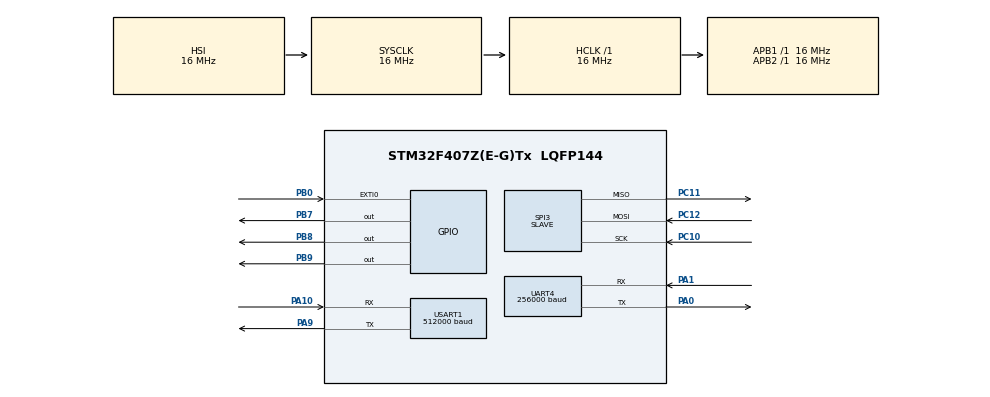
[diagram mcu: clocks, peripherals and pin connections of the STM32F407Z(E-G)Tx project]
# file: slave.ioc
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Dma.Request0=USART1_TX
Dma.USART1_TX.0.Direction=DMA_MEMORY_TO_PERIPH
Dma.USART1_TX.0.FIFOMode=DMA_FIFOMODE_DISABLE
Dma.USART1_TX.0.Instance=DMA2_Stream7
Dma.USART1_TX.0.MemDataAlignment=DMA_MDATAALIGN_BYTE
Dma.USART1_TX.0.MemInc=DMA_MINC_ENABLE
Dma.USART1_TX.0.Mode=DMA_NORMAL
Dma.USART1_TX.0.PeriphDataAlignment=DMA_PDATAALIGN_BYTE
Dma.USART1_TX.0.PeriphInc=DMA_PINC_DISABLE
Dma.USART1_TX.0.Priority=DMA_PRIORITY_LOW
FREERTOS.Queues01=slave_tasks,16,16,1,Dynamic,NULL,NULL
FREERTOS.Tasks01=defaultTask,24,128,StartDefaultTask,Default,NULL,Dynamic,NULL,NULL;Actuation,40,256,Start_Actuation,Default,NULL,Dynamic,NULL,NULL;FeedBack,32,512,Start_FeedBack,Default,NULL,Dynamic,NULL,NULL
Mcu.Family=STM32F4
Mcu.Name=STM32F407Z(E-G)Tx
Mcu.Package=LQFP144
NVIC.DMA2_Stream7_IRQn=true\:5\:0\:false\:false\:true\:true\:false\:true\:true
NVIC.EXTI0_IRQn=true\:5\:0\:true\:false\:true\:true\:true\:true\:true
NVIC.PriorityGroup=NVIC_PRIORITYGROUP_4
NVIC.TIM1_UP_TIM10_IRQn=true\:15\:0\:false\:false\:true\:false\:false\:true\:true
NVIC.TimeBase=TIM1_UP_TIM10_IRQn
NVIC.TimeBaseIP=TIM1
NVIC.USART1_IRQn=true\:7\:0\:true\:false\:true\:true\:true\:true\:true
PA0-WKUP.Mode=Asynchronous
PA0-WKUP.Signal=UART4_TX
PA1.Mode=Asynchronous
PA1.Signal=UART4_RX
PA10.Mode=Asynchronous
PA10.Signal=USART1_RX
PA13.Mode=JTAG_4_pins
PA13.Signal=SYS_JTMS-SWDIO
PA14.Mode=JTAG_4_pins
PA14.Signal=SYS_JTCK-SWCLK
PA15.Mode=JTAG_4_pins
PA15.Signal=SYS_JTDI
PA9.Mode=Asynchronous
PA9.Signal=USART1_TX
PB0.Signal=GPXTI0
PB3.Mode=JTAG_4_pins
PB3.Signal=SYS_JTDO-SWO
PB7.GPIO_PuPd=GPIO_PULLUP
PB7.PinState=GPIO_PIN_SET
PB7.Signal=GPIO_Output
PB8.GPIO_PuPd=GPIO_PULLUP
PB8.PinState=GPIO_PIN_SET
PB8.Signal=GPIO_Output
PB9.GPIO_PuPd=GPIO_PULLUP
PB9.PinState=GPIO_PIN_SET
PB9.Signal=GPIO_Output
PC10.Mode=Full_Duplex_Slave
PC10.Signal=SPI3_SCK
PC11.Mode=Full_Duplex_Slave
PC11.Signal=SPI3_MISO
PC12.Mode=Full_Duplex_Slave
PC12.Signal=SPI3_MOSI
ProjectManager.HeapSize=0x200
ProjectManager.StackSize=0x400
ProjectManager.TargetToolchain=CMake
RCC.AHBFreq_Value=16000000
RCC.APB1Freq_Value=16000000
RCC.APB2Freq_Value=16000000
RCC.CortexFreq_Value=16000000
RCC.HSE_VALUE=25000000
RCC.HSI_VALUE=16000000
RCC.LSE_VALUE=32768
RCC.SYSCLKFreq_VALUE=16000000
RCC.VCOOutputFreq_Value=192000000
SPI3.Direction=SPI_DIRECTION_2LINES
SPI3.Mode=SPI_MODE_SLAVE
SPI3.VirtualType=VM_SLAVE
UART4.BaudRate=256000
UART4.VirtualMode=Asynchronous
USART1.BaudRate=512000
USART1.VirtualMode=VM_ASYNC
VP_FREERTOS_VS_CMSIS_V2.Mode=CMSIS_V2
VP_SYS_VS_tim1.Mode=TIM1
board=custom

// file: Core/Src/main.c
/* USER CODE BEGIN Header */
/**
  ******************************************************************************
  * @file           : main.c
  * @brief          : Main program body
  ******************************************************************************
  * @attention
  *
  * Copyright (c) 2026 STMicroelectronics.
  * All rights reserved.
  *
  * This software is licensed under terms that can be found in the LICENSE file
  * in the root directory of this software component.
  * If no LICENSE file comes with this software, it is provided AS-IS.
  *
  ******************************************************************************
  */
/* USER CODE END Header */
#include "main.h"
#include "cmsis_os.h"
#include "dma.h"
#include "spi.h"
#include "usart.h"
#include "gpio.h"

void SystemClock_Config(void);
void MX_FREERTOS_Init(void);

int main(void)
{

  /* MCU Configuration--------------------------------------------------------*/

  /* Reset of all peripherals, Initializes the Flash interface and the Systick. */
   HAL_Init();

  /* Configure the system clock */
  SystemClock_Config();

  /* Initialize all configured peripherals */
  MX_GPIO_Init();
  MX_DMA_Init();
  MX_UART4_Init();
  MX_USART1_UART_Init();
  MX_SPI3_Init();

  /* Init scheduler */
  osKernelInitialize();  /* Call init function for freertos objects (in cmsis_os2.c) */
  MX_FREERTOS_Init();

  /* Start scheduler */
  osKernelStart();

  /* We should never get here as control is now taken by the scheduler */

  /* Infinite loop */
  while (1)
  {

  }
}

void SystemClock_Config(void)
{
  RCC_OscInitTypeDef RCC_OscInitStruct = {0};
  RCC_ClkInitTypeDef RCC_ClkInitStruct = {0};

  /** Configure the main internal regulator output voltage
  */
  __HAL_RCC_PWR_CLK_ENABLE();
  __HAL_PWR_VOLTAGESCALING_CONFIG(PWR_REGULATOR_VOLTAGE_SCALE1);

  /** Initializes the RCC Oscillators according to the specified parameters
  * in the RCC_OscInitTypeDef structure.
  */
  RCC_OscInitStruct.OscillatorType = RCC_OSCILLATORTYPE_HSI;
  RCC_OscInitStruct.HSIState = RCC_HSI_ON;
  RCC_OscInitStruct.HSICalibrationValue = RCC_HSICALIBRATION_DEFAULT;
  RCC_OscInitStruct.PLL.PLLState = RCC_PLL_NONE;
  if (HAL_RCC_OscConfig(&RCC_OscInitStruct) != HAL_OK)
  {
    Error_Handler();
  }

  /** Initializes the CPU, AHB and APB buses clocks
  */
  RCC_ClkInitStruct.ClockType = RCC_CLOCKTYPE_HCLK|RCC_CLOCKTYPE_SYSCLK
                              |RCC_CLOCKTYPE_PCLK1|RCC_CLOCKTYPE_PCLK2;
  RCC_ClkInitStruct.SYSCLKSource = RCC_SYSCLKSOURCE_HSI;
  RCC_ClkInitStruct.AHBCLKDivider = RCC_SYSCLK_DIV1;
  RCC_ClkInitStruct.APB1CLKDivider = RCC_HCLK_DIV1;
  RCC_ClkInitStruct.APB2CLKDivider = RCC_HCLK_DIV1;

  if (HAL_RCC_ClockConfig(&RCC_ClkInitStruct, FLASH_LATENCY_0) != HAL_OK)
  {
    Error_Handler();
  }
}

/* USER CODE BEGIN 4 */
/* USER CODE BEGIN 4 */

/* USER CODE END 4 */

void HAL_TIM_PeriodElapsedCallback(TIM_HandleTypeDef *htim)
{
  if (htim->Instance == TIM1)
  {
    HAL_IncTick();
  }
}

void Error_Handler(void)
{
  __disable_irq();
  while (1)
  {
  }
}

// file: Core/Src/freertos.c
/* USER CODE BEGIN Header */
/**
  ******************************************************************************
  * File Name          : freertos.c
  * Description        : Code for freertos applications
  ******************************************************************************
  * @attention
  *
  * Copyright (c) 2026 STMicroelectronics.
  * All rights reserved.
  *
  * This software is licensed under terms that can be found in the LICENSE file
  * in the root directory of this software component.
  * If no LICENSE file comes with this software, it is provided AS-IS.
  *
  ******************************************************************************
  */
/* USER CODE END Header */

#include "FreeRTOS.h"
#include "task.h"
#include "main.h"
#include "cmsis_os.h"

/* USER CODE BEGIN Includes */
#include "stdio.h"
#include "string.h"
#include "queue.h"
#include "spi.h"
#include "stdlib.h"
/* USER CODE END Includes */

/* USER CODE BEGIN Variables */
extern SPI_HandleTypeDef hspi3;
extern UART_HandleTypeDef huart1,huart4;

char position_pack[5]="";
char command_actuate[15]="#000P0500T0000!";
char command_get_position[9]="#000PRAD!";
char receive_position[11]="";
char num_joint;
uint8_t counter=0;
int anti_locked=0,current_posi=0;
int last_posis[6]={0,0,0,0,0,0};
uint8_t is_first_run[6] = {1, 1, 1, 1, 1, 1};
/* USER CODE END Variables */
/* Definitions for defaultTask */
osThreadId_t defaultTaskHandle;
const osThreadAttr_t defaultTask_attributes = {
  .name = "defaultTask",
  .stack_size = 128 * 4,
  .priority = (osPriority_t) osPriorityNormal,
};
/* Definitions for Actuation */
osThreadId_t ActuationHandle;
const osThreadAttr_t Actuation_attributes = {
  .name = "Actuation",
  .stack_size = 256 * 4,
  .priority = (osPriority_t) osPriorityHigh,
};
/* Definitions for FeedBack */
osThreadId_t FeedBackHandle;
const osThreadAttr_t FeedBack_attributes = {
  .name = "FeedBack",
  .stack_size = 512 * 4,
  .priority = (osPriority_t) osPriorityAboveNormal,
};
/* Definitions for slave_tasks */
osMessageQueueId_t slave_tasksHandle;
const osMessageQueueAttr_t slave_tasks_attributes = {
  .name = "slave_tasks"
};

void StartDefaultTask(void *argument);
void Start_Actuation(void *argument);
void Start_FeedBack(void *argument);

void MX_FREERTOS_Init(void); /* (MISRA C 2004 rule 8.1) */

void MX_FREERTOS_Init(void) {

  /* Create the queue(s) */
  /* creation of slave_tasks */
  slave_tasksHandle = osMessageQueueNew (16, 16, &slave_tasks_attributes);

  /* Create the thread(s) */
  /* creation of defaultTask */
  defaultTaskHandle = osThreadNew(StartDefaultTask, NULL, &defaultTask_attributes);

  /* creation of Actuation */
  ActuationHandle = osThreadNew(Start_Actuation, NULL, &Actuation_attributes);

  /* creation of FeedBack */
  FeedBackHandle = osThreadNew(Start_FeedBack, NULL, &FeedBack_attributes);

}

void StartDefaultTask(void *argument)
{
  /* USER CODE BEGIN StartDefaultTask */
  /* Infinite loop */
  for(;;)
  {
    //osDelay(1);
  }
  /* USER CODE END StartDefaultTask */
}

void Start_Actuation(void *argument)
{
  /* USER CODE BEGIN Start_Actuation */
  /* Infinite loop */
  for(;;)
  {
    //运动控制
    osThreadFlagsWait(0x01, osFlagsWaitAny, osWaitForever);
    HAL_GPIO_WritePin(GPIOB,GPIO_PIN_8,GPIO_PIN_RESET);

    HAL_SPI_Receive(&hspi3,(uint8_t*)position_pack,sizeof(position_pack),2);

    //Read first frame of every joint
    int joint_idx = position_pack[0] - '0',
        current= 1000*(position_pack[1]-'0') + 100*(position_pack[2]-'0') + 10*(position_pack[3]-'0') + 1*(position_pack[4]-'0');
    if (is_first_run[joint_idx])
    {
      last_posis[joint_idx] = current;
      is_first_run[joint_idx] = 0;
      HAL_GPIO_WritePin(GPIOB,GPIO_PIN_8,GPIO_PIN_SET);
      osThreadFlagsClear(0x01);
      continue;
    }

    //Anti Lock Rotor
    if(position_pack[0]=='5')
    {
      anti_locked= 1000*(position_pack[1]-'0') + 100*(position_pack[2]-'0') + 10*(position_pack[3]-'0') + 1*(position_pack[4]-'0');
      if(!(anti_locked>600 && anti_locked<1500))
      {
        HAL_GPIO_WritePin(GPIOB,GPIO_PIN_8,GPIO_PIN_SET);
        osThreadFlagsClear(0x01);
        continue;
      }
    }

    //Dead-bound unlinear filter
    int diff = current - last_posis[joint_idx];
    if (abs(diff) <= 2)
    {
      HAL_GPIO_WritePin(GPIOB,GPIO_PIN_8,GPIO_PIN_SET);
      osThreadFlagsClear(0x01);
      continue;
    }

    //Build actuation command
    memcpy(&command_actuate[3],&position_pack[0],1);
    memcpy(&command_actuate[5], &position_pack[1], 4);
    //*(uint32_t*)&command_actuate[5] = *(uint32_t*)&position_pack[1];

    HAL_UART_Transmit(&huart4,(uint8_t*)command_actuate,sizeof(command_actuate),5);
    num_joint=position_pack[0]; counter++; last_posis[joint_idx]=current;

    osThreadFlagsSet(FeedBackHandle, 0x02);
    osThreadFlagsClear(0x01);

    HAL_GPIO_WritePin(GPIOB,GPIO_PIN_8,GPIO_PIN_SET);
    //osDelay(1);
  }

  /* USER CODE END Start_Actuation */
}

void Start_FeedBack(void *argument)
{
  /* USER CODE BEGIN Start_FeedBack */

  /* Infinite loop */
  for(;;)
  {
    osThreadFlagsWait(0x02, osFlagsWaitAny, osWaitForever);
    HAL_GPIO_WritePin(GPIOB,GPIO_PIN_7,GPIO_PIN_RESET);

    command_get_position[3]=num_joint;
    HAL_UART_Transmit(&huart4,(uint8_t*)command_get_position,sizeof(command_get_position),1);
    HAL_UART_Receive(&huart4,(uint8_t*)receive_position,sizeof(receive_position),3);

    printf("%c%c%c%c%c\r\n",receive_position[3],receive_position[5],receive_position[6],receive_position[7],receive_position[8]);
    if(counter>5)
    {
      printf("\033[6A"); counter=0;
    }

    osThreadFlagsClear(0x02);
    HAL_GPIO_WritePin(GPIOB,GPIO_PIN_7,GPIO_PIN_SET);
    //osDelay(1);
  }
  /* USER CODE END Start_FeedBack */
}

/* USER CODE BEGIN Application */
int _write(int file,char *ptr,int len)
{
  if(HAL_UART_Transmit_DMA(&huart1,(uint8_t*)ptr,len)!=HAL_OK)
  {return -1;}
  return len;
}

void HAL_GPIO_EXTI_Callback(uint16_t GPIO_Pin)
{
    if (GPIO_Pin == GPIO_PIN_0) // PB0 触发
    {
      // 确保这里的句柄叫 ActuationHandle，对应你图片里的 Task Name
      osThreadFlagsSet(ActuationHandle, 0x01);
      portYIELD_FROM_ISR(pdTRUE);
    }
}
/* USER CODE END Application */
